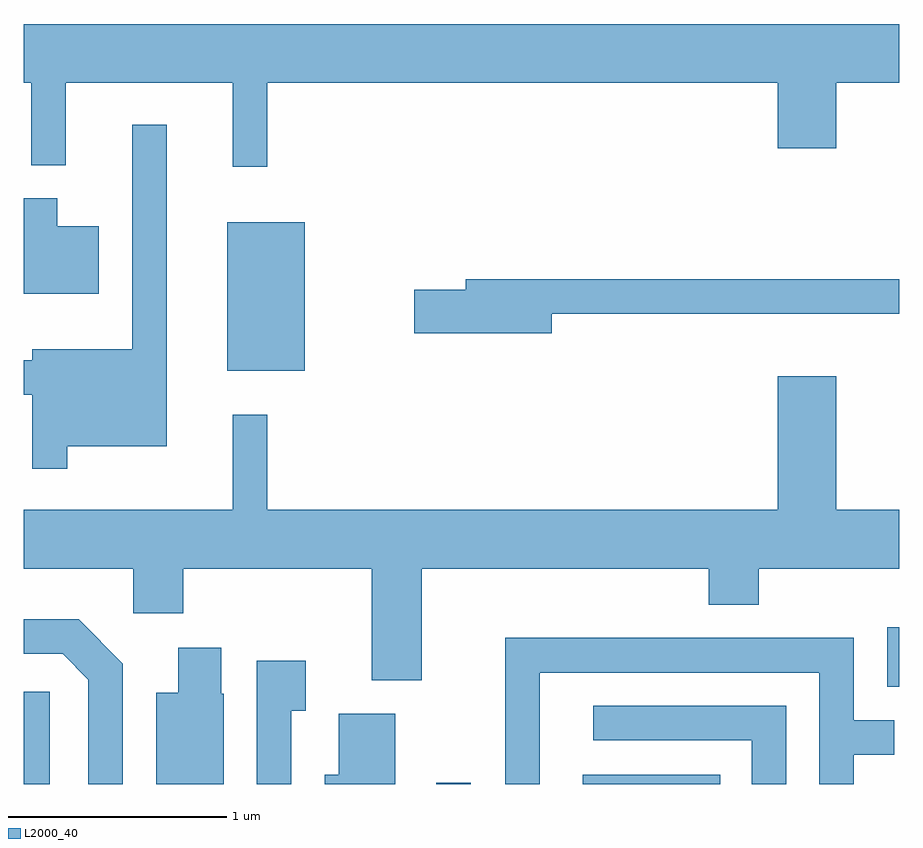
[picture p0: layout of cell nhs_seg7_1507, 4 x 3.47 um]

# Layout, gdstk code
import gdstk
lib = gdstk.Library(unit=1e-6, precision=1e-09)
def R(c, l, rs):  # rectangles x0, y0, x1, y1
    for r in rs: c.add(gdstk.rectangle(r[:2], r[2:], *l))
def P(c, l, *ps):  # polygons
    for p in ps: c.add(gdstk.Polygon(p, *l))
L2000_40 = (2000, 40)

nhs_seg7_1507 = lib.new_cell('nhs_seg7_1507')
R(nhs_seg7_1507, L2000_40, [(231.611,1682.252,231.729,1682.674), (233.496,1682.252,233.654,1682.258), (234.166,1682.252,234.793,1682.294), (235.556,1682.696,235.611,1682.968), (232.541,1684.141,232.894,1684.819)])
P(nhs_seg7_1507, L2000_40, [(232.724,1685.456),(235.056,1685.456),(235.056,1685.156),(235.324,1685.156),(235.324,1685.456),(235.611,1685.456),(235.611,1685.724),(231.611,1685.724),(231.611,1685.456),(231.646,1685.456),(231.646,1685.078),(231.804,1685.078),(231.804,1685.456),(232.566,1685.456),(232.566,1685.073),(232.724,1685.073)],
  [(231.809,1683.796),(232.264,1683.796),(232.264,1685.263),(232.106,1685.263),(232.106,1684.239),(231.651,1684.239),(231.651,1684.189),(231.611,1684.189),(231.611,1684.031),(231.651,1684.031),(231.651,1683.693),(231.809,1683.693)],
  [(231.954,1684.799),(231.764,1684.799),(231.764,1684.929),(231.611,1684.929),(231.611,1684.491),(231.954,1684.491)],
  [(234.024,1684.401),(235.611,1684.401),(235.611,1684.559),(233.631,1684.559),(233.631,1684.509),(233.396,1684.509),(233.396,1684.311),(234.024,1684.311)],
  [(233.429,1683.236),(234.741,1683.236),(234.741,1683.071),(234.969,1683.071),(234.969,1683.236),(235.611,1683.236),(235.611,1683.504),(235.324,1683.504),(235.324,1684.114),(235.056,1684.114),(235.056,1683.504),(232.724,1683.504),(232.724,1683.938),(232.566,1683.938),(232.566,1683.504),(231.611,1683.504),(231.611,1683.236),(232.111,1683.236),(232.111,1683.031),(232.339,1683.031),(232.339,1683.236),(233.201,1683.236),(233.201,1682.726),(233.429,1682.726)],
  [(232.064,1682.802),(231.862,1683.004),(231.611,1683.004),(231.611,1682.846),(231.789,1682.846),(231.906,1682.729),(231.906,1682.252),(232.064,1682.252)],
  [(233.969,1682.761),(235.246,1682.761),(235.246,1682.252),(235.404,1682.252),(235.404,1682.386),(235.588,1682.386),(235.588,1682.544),(235.404,1682.544),(235.404,1682.919),(233.811,1682.919),(233.811,1682.252),(233.969,1682.252)],
  [(232.524,1682.665),(232.514,1682.665),(232.514,1682.874),(232.316,1682.874),(232.316,1682.669),(232.216,1682.669),(232.216,1682.252),(232.524,1682.252)],
  [(232.834,1682.586),(232.899,1682.586),(232.899,1682.814),(232.676,1682.814),(232.676,1682.252),(232.834,1682.252)],
  [(235.094,1682.609),(234.213,1682.609),(234.213,1682.451),(234.936,1682.451),(234.936,1682.252),(235.094,1682.252)],
  [(233.309,1682.574),(233.051,1682.574),(233.051,1682.294),(232.986,1682.294),(232.986,1682.252),(233.309,1682.252)])

lib.write_gds('nhs_seg7_1507.gds')
